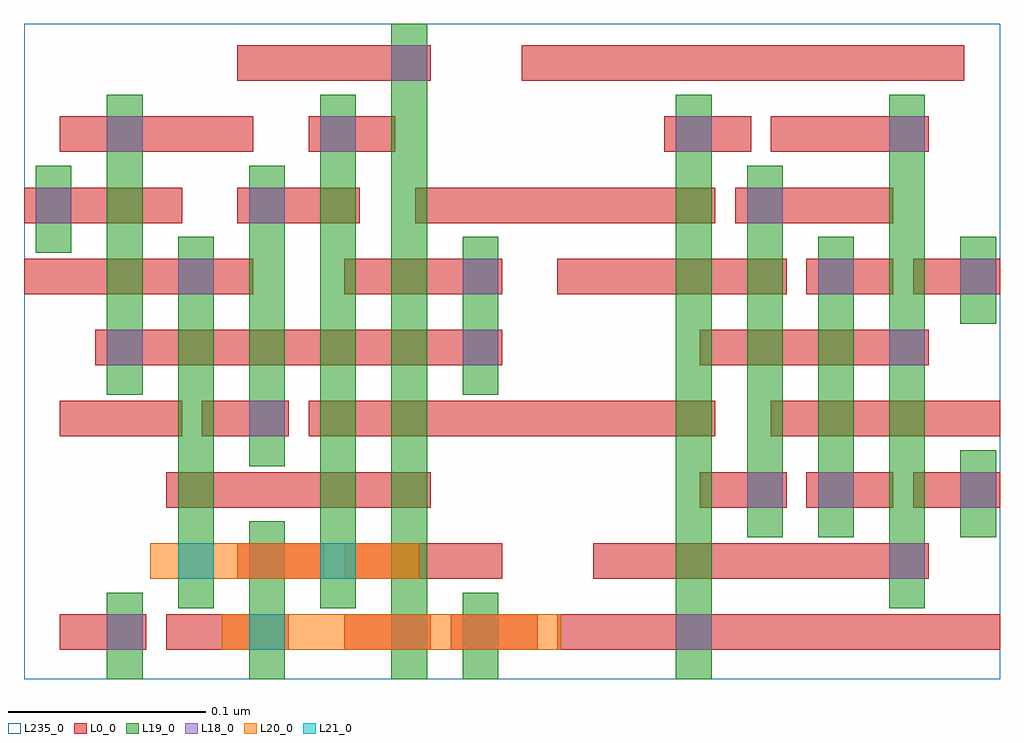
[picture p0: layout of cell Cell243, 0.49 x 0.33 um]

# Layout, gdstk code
import gdstk
lib = gdstk.Library(unit=1e-6, precision=2.5e-10)
def R(c, l, rs):  # rectangles x0, y0, x1, y1
    for r in rs: c.add(gdstk.rectangle(r[:2], r[2:], *l))
def A(c, l, x, y, w, h, nx, ny, dx, dy):  # array of equal rectangles
    R(c, l, [(x+i*dx, y+j*dy, x+i*dx+w, y+j*dy+h) for i in range(nx) for j in range(ny)])
L0_0 = (0, 0)
L18_0 = (18, 0)
L19_0 = (19, 0)
L20_0 = (20, 0)
L21_0 = (21, 0)
L235_0 = (235, 0)

cell243 = lib.new_cell('Cell243')
A(cell243, L0_0, 0.346, 0.071, 0.044, 0.018, 3, 1, 0.054, 0)
R(cell243, L0_0, [(0.022,-0.001,0.066,0.017), (0.076,-0.001,0.138,0.017), (0.166,-0.001,0.21,0.017), (0.22,-0.001,0.264,0.017), (0.274,-0.001,0.498,0.017), (0.112,0.035,0.156,0.053), (0.166,0.035,0.246,0.053), (0.292,0.035,0.462,0.053), (0.076,0.071,0.21,0.089), (0.022,0.107,0.084,0.125), (0.094,0.107,0.138,0.125), (0.148,0.107,0.354,0.125), (0.382,0.107,0.498,0.125), (0.04,0.143,0.246,0.161), (0.346,0.143,0.462,0.161), (0.004,0.179,0.12,0.197), (0.166,0.179,0.246,0.197), (0.274,0.179,0.39,0.197), (0.4,0.179,0.444,0.197), (0.454,0.179,0.498,0.197), (0.004,0.215,0.084,0.233), (0.112,0.215,0.174,0.233), (0.202,0.215,0.354,0.233), (0.364,0.215,0.444,0.233), (0.022,0.251,0.12,0.269), (0.148,0.251,0.192,0.269), (0.328,0.251,0.372,0.269), (0.382,0.251,0.462,0.269), (0.112,0.287,0.21,0.305), (0.256,0.287,0.48,0.305)])
A(cell243, L18_0, 0.442, 0.035, 0.018, 0.018, 1, 3, 0, 0.108)
R(cell243, L18_0, [(0.046,-0.001,0.064,0.017), (0.19,-0.001,0.208,0.017), (0.226,-0.001,0.244,0.017), (0.334,-0.001,0.352,0.017), (0.118,0.035,0.136,0.053), (0.37,0.071,0.388,0.089), (0.406,0.071,0.424,0.089), (0.478,0.071,0.496,0.089), (0.118,0.107,0.136,0.125), (0.046,0.143,0.064,0.161), (0.226,0.143,0.244,0.161), (0.082,0.179,0.1,0.197), (0.226,0.179,0.244,0.197), (0.406,0.179,0.424,0.197), (0.478,0.179,0.496,0.197), (0.01,0.215,0.028,0.233), (0.118,0.215,0.136,0.233), (0.37,0.215,0.388,0.233), (0.046,0.251,0.064,0.269), (0.154,0.251,0.172,0.269), (0.334,0.251,0.352,0.269), (0.19,0.287,0.208,0.305)])
R(cell243, L19_0, [(0.046,-0.016,0.064,0.028), (0.118,-0.016,0.136,0.064), (0.19,-0.016,0.208,0.316), (0.226,-0.016,0.244,0.028), (0.334,-0.016,0.352,0.28), (0.082,0.02,0.1,0.208), (0.154,0.02,0.172,0.28), (0.442,0.02,0.46,0.28), (0.37,0.056,0.388,0.244), (0.406,0.056,0.424,0.208), (0.478,0.056,0.496,0.1), (0.118,0.092,0.136,0.244), (0.046,0.128,0.064,0.28), (0.226,0.128,0.244,0.208), (0.478,0.164,0.496,0.208), (0.01,0.2,0.028,0.244)])
R(cell243, L20_0, [(0.104,-0.001,0.276,0.017), (0.068,0.035,0.204,0.053)])
R(cell243, L21_0, [(0.118,-0.001,0.136,0.017), (0.082,0.035,0.1,0.053), (0.154,0.035,0.172,0.053)])
R(cell243, L235_0, [(0.004,-0.016,0.498,0.316)])

lib.write_gds('Cell243.gds')
